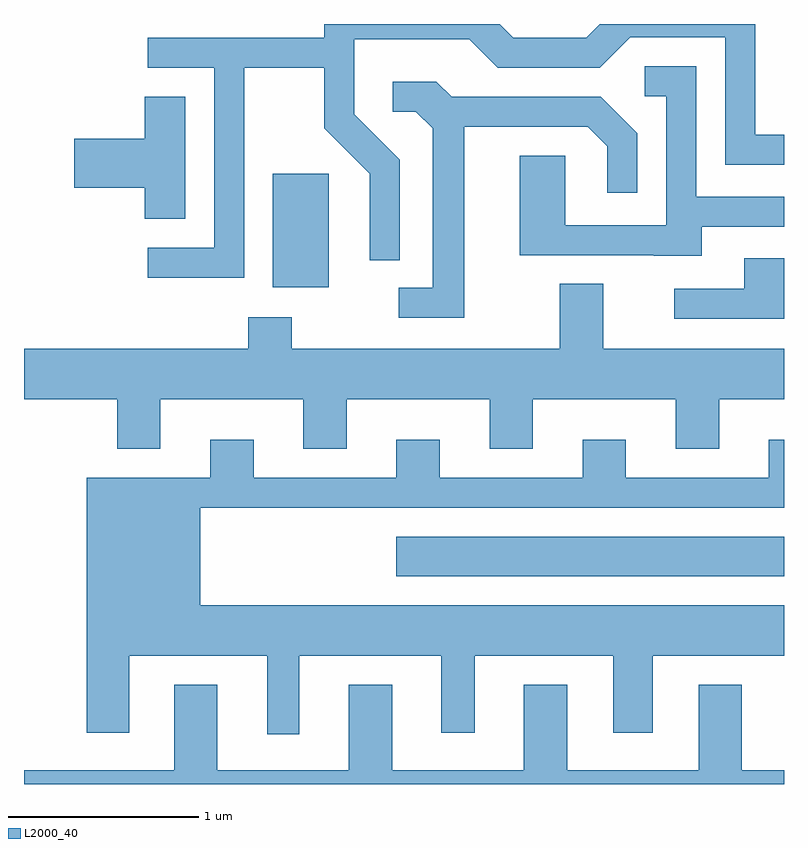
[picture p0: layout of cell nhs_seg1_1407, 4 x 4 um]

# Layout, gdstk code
import gdstk
lib = gdstk.Library(unit=1e-6, precision=1e-09)
def R(c, l, rs):  # rectangles x0, y0, x1, y1
    for r in rs: c.add(gdstk.rectangle(r[:2], r[2:], *l))
def P(c, l, *ps):  # polygons
    for p in ps: c.add(gdstk.Polygon(p, *l))
L2000_40 = (2000, 40)

nhs_seg1_1407 = lib.new_cell('nhs_seg1_1407')
R(nhs_seg1_1407, L2000_40, [(229.571,960.806,231.611,961.014), (228.921,962.326,229.214,962.924)])
P(nhs_seg1_1407, L2000_40, [(228.769,963.481),(229.191,963.481),(229.191,963.164),(229.431,962.924),(229.431,962.468),(229.589,962.468),(229.589,962.997),(229.349,963.237),(229.349,963.631),(229.954,963.631),(230.104,963.481),(230.642,963.481),(230.802,963.641),(231.301,963.641),(231.301,962.971),(231.611,962.971),(231.611,963.129),(231.459,963.129),(231.459,963.712),(230.642,963.712),(230.569,963.639),(230.187,963.639),(230.114,963.712),(229.191,963.712),(229.191,963.639),(228.263,963.639),(228.263,963.481),(228.611,963.481),(228.611,962.534),(228.263,962.534),(228.263,962.376),(228.769,962.376)],
  [(231.179,962.646),(231.611,962.646),(231.611,962.804),(231.149,962.804),(231.149,963.489),(230.878,963.489),(230.878,963.331),(230.991,963.331),(230.991,962.654),(230.459,962.654),(230.459,963.019),(230.221,963.019),(230.221,962.496),(230.925,962.496),(230.925,962.491),(231.179,962.491)],
  [(229.929,963.171),(230.579,963.171),(230.681,963.069),(230.681,962.823),(230.839,962.823),(230.839,963.137),(230.647,963.329),(229.862,963.329),(229.782,963.409),(229.553,963.409),(229.553,963.251),(229.674,963.251),(229.761,963.164),(229.761,962.324),(229.583,962.324),(229.583,962.166),(229.929,962.166)],
  [(228.459,963.329),(228.246,963.329),(228.246,963.109),(227.876,963.109),(227.876,962.851),(228.246,962.851),(228.246,962.686),(228.459,962.686)],
  [(231.611,962.479),(231.401,962.479),(231.401,962.319),(231.033,962.319),(231.033,962.161),(231.611,962.161)],
  [(230.431,962.344),(230.431,962.004),(229.019,962.004),(229.019,962.169),(228.791,962.169),(228.791,962.004),(227.611,962.004),(227.611,961.736),(228.101,961.736),(228.101,961.476),(228.329,961.476),(228.329,961.736),(229.081,961.736),(229.081,961.476),(229.309,961.476),(229.309,961.736),(230.061,961.736),(230.061,961.476),(230.289,961.476),(230.289,961.736),(231.041,961.736),(231.041,961.476),(231.269,961.476),(231.269,961.736),(231.611,961.736),(231.611,962.004),(230.659,962.004),(230.659,962.344)],
  [(229.059,960.386),(229.806,960.386),(229.806,959.981),(229.984,959.981),(229.984,960.386),(230.711,960.386),(230.711,959.981),(230.919,959.981),(230.919,960.386),(231.611,960.386),(231.611,960.654),(228.539,960.654),(228.539,961.166),(231.611,961.166),(231.611,961.524),(231.531,961.524),(231.531,961.324),(230.779,961.324),(230.779,961.524),(230.551,961.524),(230.551,961.324),(229.799,961.324),(229.799,961.524),(229.571,961.524),(229.571,961.324),(228.819,961.324),(228.819,961.524),(228.591,961.524),(228.591,961.324),(227.941,961.324),(227.941,959.981),(228.164,959.981),(228.164,960.386),(228.891,960.386),(228.891,959.973),(229.059,959.973)],
  [(231.611,959.784),(231.389,959.784),(231.389,960.234),(231.161,960.234),(231.161,959.784),(230.469,959.784),(230.469,960.234),(230.241,960.234),(230.241,959.784),(229.549,959.784),(229.549,960.234),(229.321,960.234),(229.321,959.784),(228.629,959.784),(228.629,960.234),(228.401,960.234),(228.401,959.784),(227.611,959.784),(227.611,959.712),(231.611,959.712)])

lib.write_gds('nhs_seg1_1407.gds')
